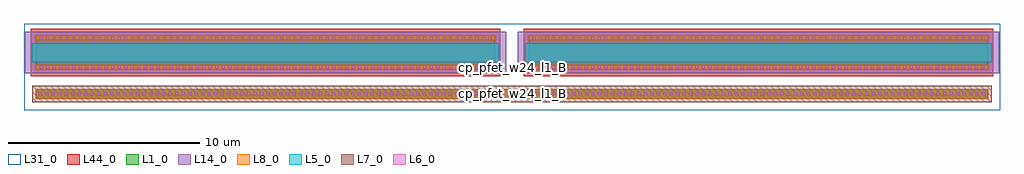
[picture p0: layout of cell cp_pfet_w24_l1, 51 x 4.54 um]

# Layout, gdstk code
import gdstk
lib = gdstk.Library(unit=1e-6, precision=1e-09)
def R(c, l, rs):  # rectangles x0, y0, x1, y1
    for r in rs: c.add(gdstk.rectangle(r[:2], r[2:], *l))
def A(c, l, x, y, w, h, nx, ny, dx, dy):  # array of equal rectangles
    R(c, l, [(x+i*dx, y+j*dy, x+i*dx+w, y+j*dy+h) for i in range(nx) for j in range(ny)])
L1_0 = (1, 0)
L5_0 = (5, 0)
L6_0 = (6, 0)
L7_0 = (7, 0)
L8_0 = (8, 0)
L14_0 = (14, 0)
L31_0 = (31, 0)
L44_0 = (44, 0)

cp_pfet_w24_l1 = lib.new_cell('cp_pfet_w24_l1')
R(cp_pfet_w24_l1, L1_0, [(1.2,0.96,50.96,1.46), (1.2,2.46,25.2,4.26), (26.96,2.46,50.96,4.26)])
R(cp_pfet_w24_l1, L5_0, [(1.02,2.86,25.38,3.86), (26.78,2.86,51.14,3.86)])
A(cp_pfet_w24_l1, L6_0, 1.35, 1.13, 0.16, 0.16, 146, 1, 0.34, 0)
A(cp_pfet_w24_l1, L6_0, 1.39, 2.53, 0.16, 0.16, 70, 2, 0.34, 1.5)
A(cp_pfet_w24_l1, L6_0, 27.15, 2.53, 0.16, 0.16, 70, 2, 0.34, 1.5)
R(cp_pfet_w24_l1, L7_0, [(1.02,0.78,51.14,1.64)])
R(cp_pfet_w24_l1, L8_0, [(1.2,0.96,50.96,1.46), (1.2,2.46,25.2,2.72), (26.96,2.46,50.96,2.72), (1.2,4,25.2,4.26), (26.96,4,50.96,4.26)])
R(cp_pfet_w24_l1, L14_0, [(0.62,2.28,25.78,4.44), (26.38,2.28,51.54,4.44)])
R(cp_pfet_w24_l1, L31_0, [(0.58,0.34,51.58,4.88)])
R(cp_pfet_w24_l1, L44_0, [(0.93,2.12,25.47,4.6), (26.69,2.12,51.23,4.6)])
cp_pfet_w24_l1.add(gdstk.Label('cp_pfet_w24_l1_B', (26.08,1.21), layer=8, texttype=2))
cp_pfet_w24_l1.add(gdstk.Label('cp_pfet_w24_l1_B', (26.08,2.61), layer=31, texttype=2))

lib.write_gds('cp_pfet_w24_l1.gds')
